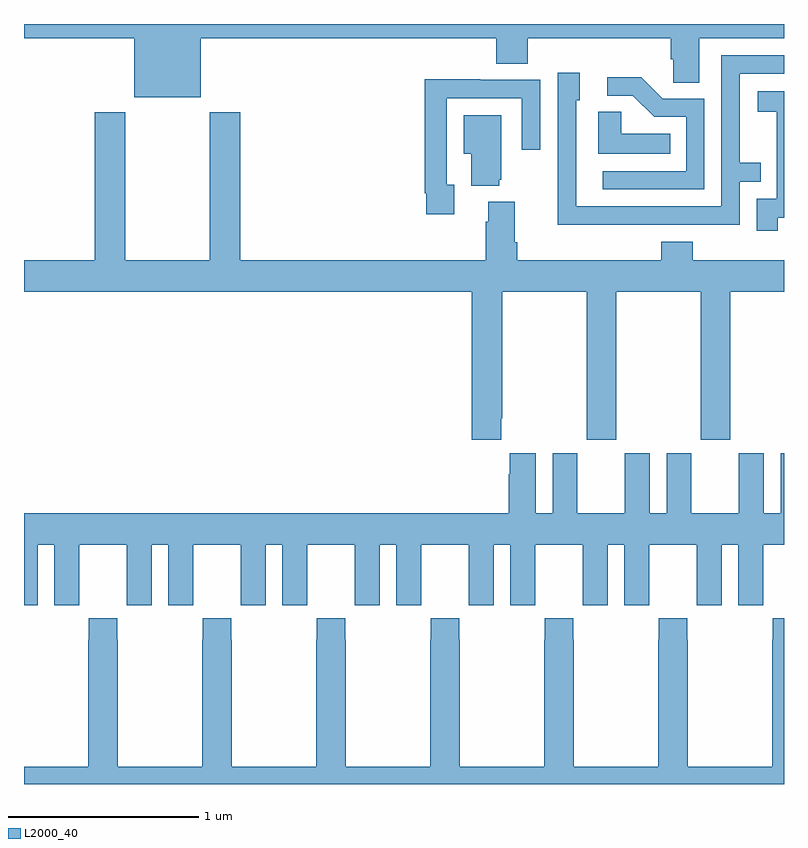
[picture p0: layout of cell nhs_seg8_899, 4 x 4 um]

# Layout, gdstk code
import gdstk
lib = gdstk.Library(unit=1e-6, precision=1e-09)
def P(c, l, *ps):  # polygons
    for p in ps: c.add(gdstk.Polygon(p, *l))
L2000_40 = (2000, 40)

nhs_seg8_899 = lib.new_cell('nhs_seg8_899')
P(nhs_seg8_899, L2000_40, [(169.93,1125.824),(171.485,1125.824),(171.485,1125.691),(171.65,1125.691),(171.65,1125.824),(172.403,1125.824),(172.403,1125.715),(172.416,1125.715),(172.416,1125.592),(172.555,1125.592),(172.555,1125.824),(173,1125.824),(173,1125.9),(169,1125.9),(169,1125.824),(169.58,1125.824),(169.58,1125.515),(169.93,1125.515)],
  [(172.271,1124.844),(172.767,1124.844),(172.767,1125.069),(172.877,1125.069),(172.877,1125.17),(172.767,1125.17),(172.767,1125.639),(173,1125.639),(173,1125.735),(172.671,1125.735),(172.671,1124.94),(171.906,1124.94),(171.906,1125.498),(171.925,1125.498),(171.925,1125.643),(171.81,1125.643),(171.81,1125.149),(171.808,1125.149),(171.808,1124.843),(172.271,1124.843)],
  [(172.581,1125.507),(172.362,1125.507),(172.249,1125.62),(172.071,1125.62),(172.071,1125.522),(172.205,1125.522),(172.316,1125.411),(172.485,1125.411),(172.485,1125.126),(172.047,1125.126),(172.047,1125.03),(172.581,1125.03)],
  [(171.265,1125.054),(171.225,1125.054),(171.225,1125.51),(171.621,1125.51),(171.621,1125.237),(171.717,1125.237),(171.717,1125.606),(171.401,1125.606),(171.401,1125.608),(171.109,1125.608),(171.109,1125.01),(171.117,1125.01),(171.117,1124.898),(171.265,1124.898)],
  [(172.966,1124.881),(173,1124.881),(173,1125.547),(172.863,1125.547),(172.863,1125.437),(172.961,1125.437),(172.961,1125.209),(172.962,1125.209),(172.962,1124.979),(172.857,1124.979),(172.857,1124.811),(172.966,1124.811)],
  [(172.4,1125.322),(172.143,1125.322),(172.143,1125.437),(172.022,1125.437),(172.022,1125.218),(172.4,1125.218)],
  [(171.511,1123.825),(171.516,1123.825),(171.516,1124.492),(171.961,1124.492),(171.961,1123.713),(172.116,1123.713),(172.116,1124.492),(172.561,1124.492),(172.561,1123.713),(172.716,1123.713),(172.716,1124.492),(173,1124.492),(173,1124.656),(172.52,1124.656),(172.52,1124.755),(172.355,1124.755),(172.355,1124.656),(171.596,1124.656),(171.596,1124.752),(171.583,1124.752),(171.583,1124.965),(171.443,1124.965),(171.443,1124.858),(171.431,1124.858),(171.431,1124.656),(170.138,1124.656),(170.138,1125.436),(169.978,1125.436),(169.978,1124.656),(169.533,1124.656),(169.533,1125.436),(169.373,1125.436),(169.373,1124.656),(169,1124.656),(169,1124.492),(171.356,1124.492),(171.356,1123.713),(171.511,1123.713)],
  [(171.5,1125.081),(171.511,1125.081),(171.511,1125.421),(171.314,1125.421),(171.314,1125.218),(171.353,1125.218),(171.353,1125.05),(171.5,1125.05)],
  [(172.513,1123.642),(172.382,1123.642),(172.382,1123.324),(172.294,1123.324),(172.294,1123.642),(172.163,1123.642),(172.163,1123.324),(171.913,1123.324),(171.913,1123.642),(171.782,1123.642),(171.782,1123.324),(171.694,1123.324),(171.694,1123.642),(171.557,1123.642),(171.557,1123.529),(171.551,1123.529),(171.551,1123.324),(169,1123.324),(169,1122.84),(169.072,1122.84),(169.072,1123.16),(169.16,1123.16),(169.16,1122.84),(169.29,1122.84),(169.29,1122.952),(169.291,1122.952),(169.291,1123.16),(169.541,1123.16),(169.541,1122.952),(169.542,1122.952),(169.542,1122.84),(169.672,1122.84),(169.672,1123.16),(169.76,1123.16),(169.76,1122.84),(169.89,1122.84),(169.89,1122.952),(169.891,1122.952),(169.891,1123.16),(170.141,1123.16),(170.141,1122.952),(170.142,1122.952),(170.142,1122.84),(170.272,1122.84),(170.272,1123.16),(170.36,1123.16),(170.36,1122.84),(170.49,1122.84),(170.49,1122.952),(170.491,1122.952),(170.491,1123.16),(170.741,1123.16),(170.741,1122.952),(170.742,1122.952),(170.742,1122.84),(170.872,1122.84),(170.872,1123.16),(170.96,1123.16),(170.96,1122.84),(171.09,1122.84),(171.09,1122.952),(171.091,1122.952),(171.091,1123.16),(171.341,1123.16),(171.341,1122.952),(171.342,1122.952),(171.342,1122.84),(171.472,1122.84),(171.472,1123.16),(171.56,1123.16),(171.56,1122.84),(171.69,1122.84),(171.69,1122.952),(171.691,1122.952),(171.691,1123.16),(171.941,1123.16),(171.941,1122.952),(171.942,1122.952),(171.942,1122.84),(172.072,1122.84),(172.072,1123.16),(172.16,1123.16),(172.16,1122.84),(172.29,1122.84),(172.29,1122.952),(172.291,1122.952),(172.291,1123.16),(172.541,1123.16),(172.541,1122.952),(172.542,1122.952),(172.542,1122.84),(172.672,1122.84),(172.672,1123.16),(172.76,1123.16),(172.76,1122.84),(172.89,1122.84),(172.89,1122.952),(172.891,1122.952),(172.891,1123.16),(173,1123.16),(173,1123.642),(172.982,1123.642),(172.982,1123.324),(172.894,1123.324),(172.894,1123.642),(172.763,1123.642),(172.763,1123.324),(172.513,1123.324)],
  [(173,1122.772),(172.941,1122.772),(172.941,1122.659),(172.939,1122.659),(172.939,1121.992),(172.494,1121.992),(172.494,1122.659),(172.491,1122.659),(172.491,1122.772),(172.341,1122.772),(172.341,1122.659),(172.339,1122.659),(172.339,1121.992),(171.894,1121.992),(171.894,1122.659),(171.891,1122.659),(171.891,1122.772),(171.741,1122.772),(171.741,1122.659),(171.739,1122.659),(171.739,1121.992),(171.294,1121.992),(171.294,1122.659),(171.291,1122.659),(171.291,1122.772),(171.141,1122.772),(171.141,1122.659),(171.139,1122.659),(171.139,1121.992),(170.694,1121.992),(170.694,1122.659),(170.691,1122.659),(170.691,1122.772),(170.541,1122.772),(170.541,1122.659),(170.539,1122.659),(170.539,1121.992),(170.094,1121.992),(170.094,1122.659),(170.091,1122.659),(170.091,1122.772),(169.941,1122.772),(169.941,1122.659),(169.939,1122.659),(169.939,1121.992),(169.494,1121.992),(169.494,1122.659),(169.491,1122.659),(169.491,1122.772),(169.341,1122.772),(169.341,1122.659),(169.339,1122.659),(169.339,1121.992),(169,1121.992),(169,1121.9),(173,1121.9)])

lib.write_gds('nhs_seg8_899.gds')
